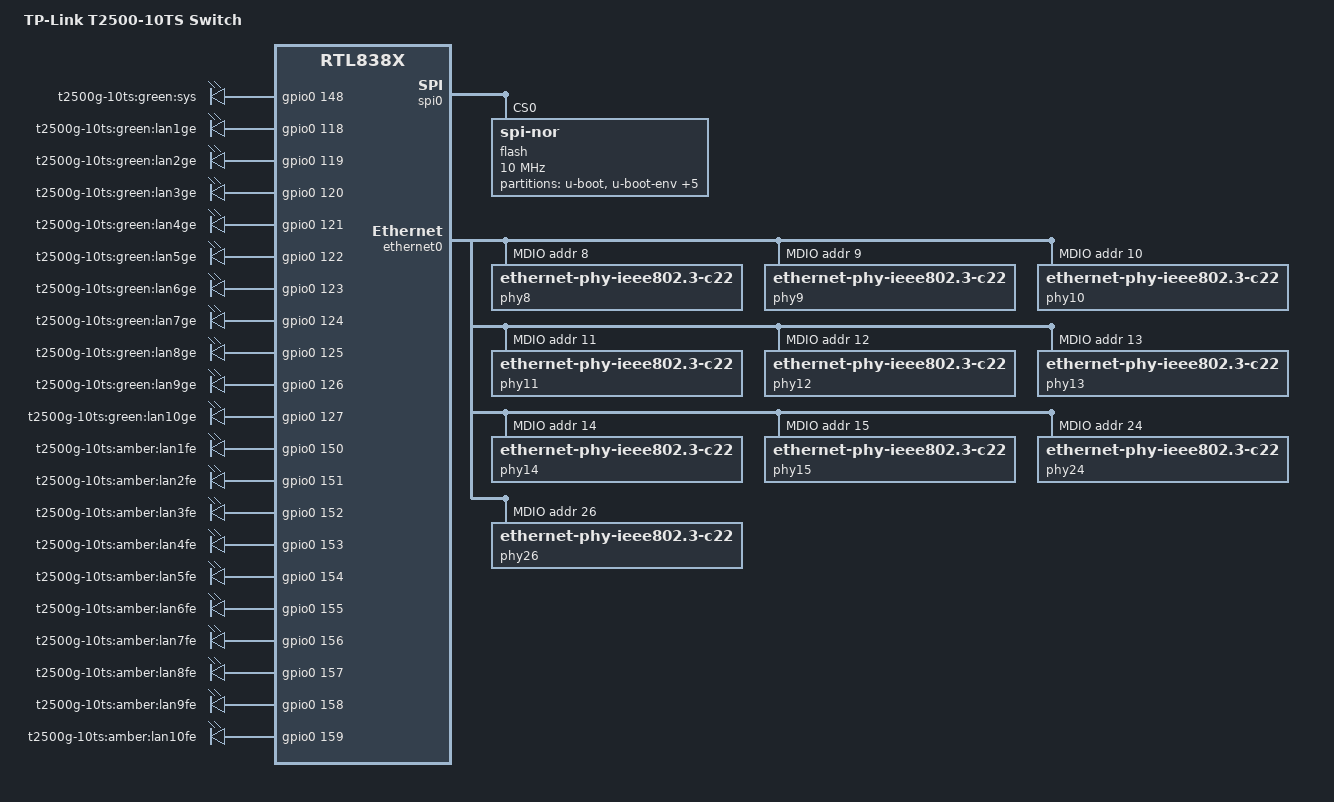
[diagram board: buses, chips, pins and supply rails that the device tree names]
/dts-v1/;

#include "rtl838x.dtsi"

#include <dt-bindings/input/input.h>
#include <dt-bindings/gpio/gpio.h>

/ {
	compatible = "tp-link,t2500g-10ts", "realtek,rtl838x-soc";
	model = "TP-Link T2500-10TS Switch";

	aliases {
		led-boot = &led_sys;
		led-failsafe = &led_sys;
		led-running = &led_sys;
		led-upgrade = &led_sys;
	};	

	chosen {
		bootargs = "console=ttyS0,38400";
	};
	
	leds {
		compatible = "gpio-leds";

		led_sys: sys {
			label = "t2500g-10ts:green:sys";
			gpios = <&gpio0 148 GPIO_ACTIVE_HIGH>;
		};
		led_lan1ge: lan1ge {
			label = "t2500g-10ts:green:lan1ge";
			gpios = <&gpio0 118 GPIO_ACTIVE_HIGH>;
		};
		led_lan2ge: lan2ge {
			label = "t2500g-10ts:green:lan2ge";
			gpios = <&gpio0 119 GPIO_ACTIVE_HIGH>;
		};
		led_lan3ge: lan3ge {
			label = "t2500g-10ts:green:lan3ge";
			gpios = <&gpio0 120 GPIO_ACTIVE_HIGH>;
		};
		led_lan4ge: lan4ge {
			label = "t2500g-10ts:green:lan4ge";
			gpios = <&gpio0 121 GPIO_ACTIVE_HIGH>;
		};
		led_lan5ge: lan5ge {
			label = "t2500g-10ts:green:lan5ge";
			gpios = <&gpio0 122 GPIO_ACTIVE_HIGH>;
		};
		led_lan6ge: lan6ge {
			label = "t2500g-10ts:green:lan6ge";
			gpios = <&gpio0 123 GPIO_ACTIVE_HIGH>;
		};
		led_lan7ge: lan7ge {
			label = "t2500g-10ts:green:lan7ge";
			gpios = <&gpio0 124 GPIO_ACTIVE_HIGH>;
		};
		led_lan8ge: lan8ge {
			label = "t2500g-10ts:green:lan8ge";
			gpios = <&gpio0 125 GPIO_ACTIVE_HIGH>;
		};
		led_lan9ge: lan9ge {
			label = "t2500g-10ts:green:lan9ge";
			gpios = <&gpio0 126 GPIO_ACTIVE_HIGH>;
		};
		led_lan10ge: lan10ge {
			label = "t2500g-10ts:green:lan10ge";
			gpios = <&gpio0 127 GPIO_ACTIVE_HIGH>;
		};
		led_lan1fe: lan1fe {
			label = "t2500g-10ts:amber:lan1fe";
			gpios = <&gpio0 150 GPIO_ACTIVE_HIGH>;
		};
		led_lan2fe: lan2fe {
			label = "t2500g-10ts:amber:lan2fe";
			gpios = <&gpio0 151 GPIO_ACTIVE_HIGH>;
		};
		led_lan3fe: lan3fe {
			label = "t2500g-10ts:amber:lan3fe";
			gpios = <&gpio0 152 GPIO_ACTIVE_HIGH>;
		};
		led_lan4fe: lan4fe {
			label = "t2500g-10ts:amber:lan4fe";
			gpios = <&gpio0 153 GPIO_ACTIVE_HIGH>;
		};
		led_lan5fe: lan5fe {
			label = "t2500g-10ts:amber:lan5fe";
			gpios = <&gpio0 154 GPIO_ACTIVE_HIGH>;
		};
		led_lan6fe: lan6fe {
			label = "t2500g-10ts:amber:lan6fe";
			gpios = <&gpio0 155 GPIO_ACTIVE_HIGH>;
		};
		led_lan7fe: lan7fe {
			label = "t2500g-10ts:amber:lan7fe";
			gpios = <&gpio0 156 GPIO_ACTIVE_HIGH>;
		};
		led_lan8fe: lan8fe {
			label = "t2500g-10ts:amber:lan8fe";
			gpios = <&gpio0 157 GPIO_ACTIVE_HIGH>;
		};
		led_lan9fe: lan9fe {
			label = "t2500g-10ts:amber:lan9fe";
			gpios = <&gpio0 158 GPIO_ACTIVE_HIGH>;
		};
		led_lan10fe: lan10fe {
			label = "t2500g-10ts:amber:lan10fe";
			gpios = <&gpio0 159 GPIO_ACTIVE_HIGH>;
		};
	};
};


&gpio0 {
	take-port-leds;
	leds-per-port = <2>;
	led-mode = <0xf501ea>;
	num-leds = <32>;
	min-led = <0>;
};

&spi0 {
	status = "okay";
	flash@0 {
		compatible = "jedec,spi-nor";
		reg = <0>;
		spi-max-frequency = <10000000>;

		partitions {
			compatible = "fixed-partitions";
			#address-cells = <1>;
			#size-cells = <1>;

			partition@0 {
				label = "u-boot";
				reg = <0x0 0xe0000>;
				read-only;
			};
			partition@40000 {
				label = "u-boot-env";
				reg = <0xe0000 0x20000>;
				read-only;
			};
			partition@50000 {
				label = "u-boot-env2";
				reg = <0x100000 0x600000>;
				read-only;
			};
			partition@60000 {
				label = "firmware";
				reg = <0x700000 0xa00000>;
				compatible = "denx,uimage";
			};
			partition@160000 {
				label = "userimg2";
				reg = <0x1100000 0xa00000>;
				read-only;
			};
			partition@b260000 {
				label = "userappfs";
				reg = <0x1b00000 0x400000>;
				read-only;
			};
			partition@930000 {
				label = "para";
				reg = <0x1f00000 0x100000>;
			};
		};
	};
};

&ethernet0 {
	mdio: mdio-bus {
		compatible = "realtek,rtl838x-mdio";
		regmap = <&ethernet0>;
		#address-cells = <1>;
		#size-cells = <0>;

		/* Internal phy */
		phy8: ethernet-phy@8 {
			reg = <8>;
			compatible = "ethernet-phy-ieee802.3-c22";
		};
		phy9: ethernet-phy@9 {
			reg = <9>;
			compatible = "ethernet-phy-ieee802.3-c22";
		};
		phy10: ethernet-phy@10 {
			reg = <10>;
			compatible = "ethernet-phy-ieee802.3-c22";
		};
		phy11: ethernet-phy@11 {
			reg = <11>;
			compatible = "ethernet-phy-ieee802.3-c22";
		};
		phy12: ethernet-phy@12 {
			reg = <12>;
			compatible = "ethernet-phy-ieee802.3-c22";
		};
		phy13: ethernet-phy@13 {
			reg = <13>;
			compatible = "ethernet-phy-ieee802.3-c22";
		};
		phy14: ethernet-phy@14 {
			reg = <14>;
			compatible = "ethernet-phy-ieee802.3-c22";
		};
		phy15: ethernet-phy@15 {
			reg = <15>;
			compatible = "ethernet-phy-ieee802.3-c22";
		};
		phy24: ethernet-phy@24 {
			compatible = "ethernet-phy-ieee802.3-c22";
			phy-is-integrated;
			reg = <24>;
		};
		phy26: ethernet-phy@26 {
			compatible = "ethernet-phy-ieee802.3-c22";
			phy-is-integrated;
			reg = <26>;
		};
	};
};

	
&switch0 {
	ports {
		#address-cells = <1>;
		#size-cells = <0>;

		port@0 {
			reg = <8>;
			label = "lan1";
			phy-handle = <&phy8>;
			phy-mode = "internal";
		};
		port@1 {
			reg = <9>;
			label = "lan2";
			phy-handle = <&phy9>;
			phy-mode = "internal";
		};
		port@2 {
			reg = <10>;
			label = "lan3";
			phy-handle = <&phy10>;
			phy-mode = "internal";
		};
		port@3 {
			reg = <11>;
			label = "lan4";
			phy-handle = <&phy11>;
			phy-mode = "internal";
		};
		port@4 {
			reg = <12>;
			label = "lan5";
			phy-handle = <&phy12>;
			phy-mode = "internal";
		};
		port@5 {
			reg = <13>;
			label = "lan6";
			phy-handle = <&phy13>;
			phy-mode = "internal";
		};
		port@6 {
			reg = <14>;
			label = "lan7";
			phy-handle = <&phy14>;
			phy-mode = "internal";
		};
		port@7 {
			reg = <15>;
			label = "lan8";
			phy-handle = <&phy15>;
			phy-mode = "internal";
		};
	
		port@24 {
			reg = <24>;
			label = "lan9";
			phy-mode = "internal";
			phy-handle = <&phy24>;
		};
		port@26 {
			reg = <26>;
			label = "lan10";
			phy-mode = "internal";
			phy-handle = <&phy26>;
		};
		port@28 {
			ethernet = <&ethernet0>;
			reg = <28>;
			phy-mode = "internal";
			fixed-link {
				speed = <1000>;
				full-duplex;
			};
		};
	};
};
